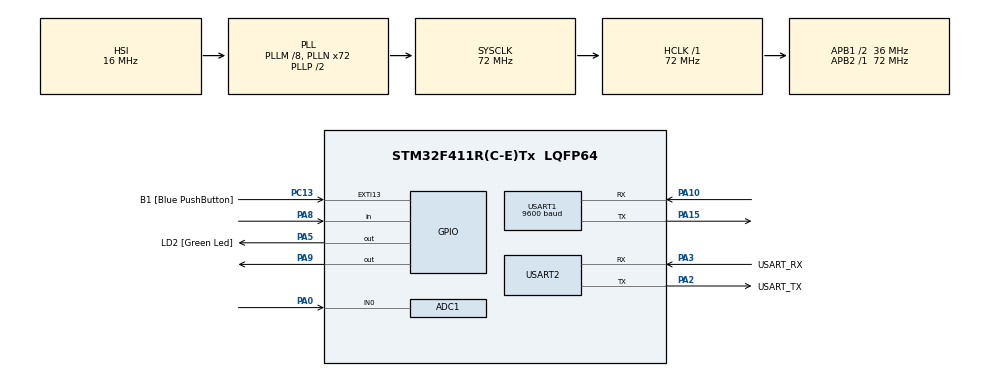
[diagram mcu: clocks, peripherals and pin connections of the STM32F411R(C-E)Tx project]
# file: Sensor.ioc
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ADC1.Channel-0\#ChannelRegularConversion=ADC_CHANNEL_0
ADC1.NbrOfConversionFlag=1
ADC1.Rank-0\#ChannelRegularConversion=1
ADC1.SamplingTime-0\#ChannelRegularConversion=ADC_SAMPLETIME_3CYCLES
ADC1.master=1
Mcu.Family=STM32F4
Mcu.Name=STM32F411R(C-E)Tx
Mcu.Package=LQFP64
NVIC.PriorityGroup=NVIC_PRIORITYGROUP_0
PA0-WKUP.Signal=ADCx_IN0
PA10.Mode=Asynchronous
PA10.Signal=USART1_RX
PA13.GPIO_Label=TMS
PA13.Mode=Serial_Wire
PA13.Signal=SYS_JTMS-SWDIO
PA14.GPIO_Label=TCK
PA14.Mode=Serial_Wire
PA14.Signal=SYS_JTCK-SWCLK
PA15.Mode=Asynchronous
PA15.Signal=USART1_TX
PA2.GPIO_Label=USART_TX
PA2.Mode=Asynchronous
PA2.Signal=USART2_TX
PA3.GPIO_Label=USART_RX
PA3.Mode=Asynchronous
PA3.Signal=USART2_RX
PA5.GPIO_Label=LD2 [Green Led]
PA5.Signal=GPIO_Output
PA8.Signal=GPIO_Input
PA9.Signal=GPIO_Output
PB3.GPIO_Label=SWO
PB3.Signal=SYS_JTDO-SWO
PC13-ANTI_TAMP.GPIO_Label=B1 [Blue PushButton]
PC13-ANTI_TAMP.GPIO_ModeDefaultEXTI=GPIO_MODE_IT_FALLING
PC13-ANTI_TAMP.Signal=GPXTI13
PC14-OSC32_IN.Mode=LSE-External-Oscillator
PC14-OSC32_IN.Signal=RCC_OSC32_IN
PC15-OSC32_OUT.Mode=LSE-External-Oscillator
PC15-OSC32_OUT.Signal=RCC_OSC32_OUT
PH0\ -\ OSC_IN.Mode=HSE-External-Oscillator
PH0\ -\ OSC_IN.Signal=RCC_OSC_IN
PH1\ -\ OSC_OUT.Mode=HSE-External-Oscillator
PH1\ -\ OSC_OUT.Signal=RCC_OSC_OUT
ProjectManager.HeapSize=0x200
ProjectManager.StackSize=0x400
ProjectManager.TargetToolchain=STM32CubeIDE
RCC.48MHZClocksFreq_Value=36000000
RCC.AHBFreq_Value=72000000
RCC.APB1CLKDivider=RCC_HCLK_DIV2
RCC.APB1Freq_Value=36000000
RCC.APB1TimFreq_Value=72000000
RCC.APB2Freq_Value=72000000
RCC.APB2TimFreq_Value=72000000
RCC.CortexFreq_Value=72000000
RCC.FLatency-AdvancedSettings=FLASH_LATENCY_2
RCC.HCLKFreq_Value=72000000
RCC.HSE_VALUE=8000000
RCC.HSI_VALUE=16000000
RCC.PLLM=8
RCC.PLLN=72
RCC.SYSCLKFreq_VALUE=72000000
RCC.SYSCLKSource=RCC_SYSCLKSOURCE_PLLCLK
RCC.VCOOutputFreq_Value=144000000
SH.ADCx_IN0.0=ADC1_IN0,IN0
TIM1.Prescaler=71
USART1.BaudRate=9600
USART1.VirtualMode=VM_ASYNC
USART2.VirtualMode=VM_ASYNC
VP_TIM1_VS_ClockSourceINT.Mode=Internal
board=NUCLEO-F411RE

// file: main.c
/* USER CODE BEGIN Header */
/**
  ******************************************************************************
  * @file           : main.c
  * @brief          : Main program body
  ******************************************************************************
  * @attention
  *
  * Copyright (c) 2024 STMicroelectronics.
  * All rights reserved.
  *
  * This software is licensed under terms that can be found in the LICENSE file
  * in the root directory of this software component.
  * If no LICENSE file comes with this software, it is provided AS-IS.
  *
  ******************************************************************************
  */
/* USER CODE END Header */
#include "main.h"

ADC_HandleTypeDef hadc1;

TIM_HandleTypeDef htim1;

UART_HandleTypeDef huart1;
UART_HandleTypeDef huart2;

/* USER CODE BEGIN PV */
// For HC-SR04 sensor
#define TRIG_PIN GPIO_PIN_9 //D8
#define TRIG_PORT GPIOA
#define ECHO_PIN GPIO_PIN_8 //D7
#define ECHO_PORT GPIOA
// Use Timer1 as counter with HCLK of 72 and prescaler of 72-1.
// For LDR sensor
// Use adc1 with the resolution of 12 bits at port A0.
// Both uses 5V, Resistor used 1,000 ohms

uint32_t pMillis;
uint32_t Value1 = 0;
uint32_t Value2 = 0;
uint16_t Distance  = 0;  // cm
uint16_t ldr = 0;
double voltage_used = 5.0;
double max_adc_decimal = 4095.0;
double resistor_used = 1000.0;
char buf[256];
char confirmation[1];
/* USER CODE END PV */

void SystemClock_Config(void);
static void MX_GPIO_Init(void);
static void MX_USART2_UART_Init(void);
static void MX_TIM1_Init(void);
static void MX_ADC1_Init(void);
static void MX_USART1_UART_Init(void);

/* USER CODE BEGIN 0 */
uint32_t read_ADC_value(void) {
    HAL_ADC_Start(&hadc1); // Start the ADC conversion
    HAL_ADC_PollForConversion(&hadc1, HAL_MAX_DELAY); // Wait for the conversion to complete
    uint32_t adc_value = HAL_ADC_GetValue(&hadc1); // Get the ADC value
    HAL_ADC_Stop(&hadc1); // Stop the ADC conversion
    return adc_value;
}
/* USER CODE END 0 */

int main(void)
{

  /* MCU Configuration--------------------------------------------------------*/

  /* Reset of all peripherals, Initializes the Flash interface and the Systick. */
  HAL_Init();

  /* Configure the system clock */
  SystemClock_Config();

  /* Initialize all configured peripherals */
  MX_GPIO_Init();
  MX_USART2_UART_Init();
  MX_TIM1_Init();
  MX_ADC1_Init();
  MX_USART1_UART_Init();
  /* USER CODE BEGIN 2 */
  HAL_TIM_Base_Start(&htim1);
  HAL_GPIO_WritePin(TRIG_PORT, TRIG_PIN, GPIO_PIN_RESET);  // pull the TRIG pin low
  /* USER CODE END 2 */

  /* Infinite loop */
  /* USER CODE BEGIN WHILE */
  while (1)
  {
	  // Debug light
	  HAL_Delay(500);
	  if (HAL_UART_Receive(&huart1, confirmation, 1, 10) != HAL_OK) {
		  HAL_GPIO_TogglePin(GPIOA, GPIO_PIN_5);
		  continue;
	  }
 // Distance sensor
	  // Trigger 10 micro second pulse
	  HAL_GPIO_WritePin(TRIG_PORT, TRIG_PIN, GPIO_PIN_SET);  // pull the TRIG pin HIGH
	  __HAL_TIM_SET_COUNTER(&htim1, 0);
	  while (__HAL_TIM_GET_COUNTER (&htim1) < 10);  // wait for 10 us
	  HAL_GPIO_WritePin(TRIG_PORT, TRIG_PIN, GPIO_PIN_RESET);  // pull the TRIG pin low

	  // Detect High Output
	  pMillis = HAL_GetTick(); // used this to avoid infinite while loop  (for timeout)
	  // wait for the echo pin to go high
	  while (!(HAL_GPIO_ReadPin (ECHO_PORT, ECHO_PIN)) && pMillis + 10 >  HAL_GetTick());
	  Value1 = __HAL_TIM_GET_COUNTER (&htim1);

	  // Detect Low Output
	  pMillis = HAL_GetTick(); // used this to avoid infinite while loop (for timeout)
	  // wait for the echo pin to go low
	  while ((HAL_GPIO_ReadPin (ECHO_PORT, ECHO_PIN)) && pMillis + 50 > HAL_GetTick());
	  Value2 = __HAL_TIM_GET_COUNTER (&htim1);

	  // Distance limit = [2, 200] cm
	  Distance = (Value2-Value1)* 0.034/2;
//	  UART2 Debug
//	  sprintf(buf, "dis = %d\r\n", Distance);
//	  HAL_UART_Transmit(&huart2, buf, strlen(buf), 1000);

// 	  Light sensor
	  int adc_value = read_ADC_value(); // Read the ADC value
	  double Rvoltage = ((double)adc_value / max_adc_decimal) * voltage_used; // Convert ADC value to Resistor voltage
	  double LDRvoltage = voltage_used - Rvoltage;
	  double LDRresistance = LDRvoltage / Rvoltage * resistor_used;
//	  sprintf(buf, "adc = %d   RV = %d   LDRV = %d   RLDR = %d\r\n",adc_value, (int)Rvoltage, (int)LDRvoltage, (int)LDRresistance);
//	  HAL_UART_Transmit(&huart2, buf, strlen(buf), 10);
//	  sprintf(buf, "%dx", Distance);
//	  HAL_UART_Transmit(&huart1, buf, strlen(buf), 10);
//	  sprintf(buf, "%dx", adc_value);
//	  HAL_UART_Transmit(&huart1, buf, strlen(buf), 10);
	  // Transimit to node
	  sprintf(buf, "%d,%dx", Distance, (int)LDRresistance);
	  HAL_UART_Transmit(&huart1, buf, strlen(buf), 10);
//	  UART2 Debug
//	  sprintf(buf, "adc = %d\r\n", adc_value);
//	  HAL_UART_Transmit(&huart2, buf, strlen(buf), 1000);

	  HAL_GPIO_WritePin(GPIOA, GPIO_PIN_5, GPIO_PIN_RESET);
	  HAL_Delay(500);
    /* USER CODE END WHILE */

  }
}

void SystemClock_Config(void)
{
  RCC_OscInitTypeDef RCC_OscInitStruct = {0};
  RCC_ClkInitTypeDef RCC_ClkInitStruct = {0};

  /** Configure the main internal regulator output voltage
  */
  __HAL_RCC_PWR_CLK_ENABLE();
  __HAL_PWR_VOLTAGESCALING_CONFIG(PWR_REGULATOR_VOLTAGE_SCALE1);

  /** Initializes the RCC Oscillators according to the specified parameters
  * in the RCC_OscInitTypeDef structure.
  */
  RCC_OscInitStruct.OscillatorType = RCC_OSCILLATORTYPE_HSI;
  RCC_OscInitStruct.HSIState = RCC_HSI_ON;
  RCC_OscInitStruct.HSICalibrationValue = RCC_HSICALIBRATION_DEFAULT;
  RCC_OscInitStruct.PLL.PLLState = RCC_PLL_ON;
  RCC_OscInitStruct.PLL.PLLSource = RCC_PLLSOURCE_HSI;
  RCC_OscInitStruct.PLL.PLLM = 8;
  RCC_OscInitStruct.PLL.PLLN = 72;
  RCC_OscInitStruct.PLL.PLLP = RCC_PLLP_DIV2;
  RCC_OscInitStruct.PLL.PLLQ = 4;
  if (HAL_RCC_OscConfig(&RCC_OscInitStruct) != HAL_OK)
  {
    Error_Handler();
  }

  /** Initializes the CPU, AHB and APB buses clocks
  */
  RCC_ClkInitStruct.ClockType = RCC_CLOCKTYPE_HCLK|RCC_CLOCKTYPE_SYSCLK
                              |RCC_CLOCKTYPE_PCLK1|RCC_CLOCKTYPE_PCLK2;
  RCC_ClkInitStruct.SYSCLKSource = RCC_SYSCLKSOURCE_PLLCLK;
  RCC_ClkInitStruct.AHBCLKDivider = RCC_SYSCLK_DIV1;
  RCC_ClkInitStruct.APB1CLKDivider = RCC_HCLK_DIV2;
  RCC_ClkInitStruct.APB2CLKDivider = RCC_HCLK_DIV1;

  if (HAL_RCC_ClockConfig(&RCC_ClkInitStruct, FLASH_LATENCY_2) != HAL_OK)
  {
    Error_Handler();
  }
}

static void MX_ADC1_Init(void)
{

  ADC_ChannelConfTypeDef sConfig = {0};

  /** Configure the global features of the ADC (Clock, Resolution, Data Alignment and number of conversion)
  */
  hadc1.Instance = ADC1;
  hadc1.Init.ClockPrescaler = ADC_CLOCK_SYNC_PCLK_DIV2;
  hadc1.Init.Resolution = ADC_RESOLUTION_12B;
  hadc1.Init.ScanConvMode = DISABLE;
  hadc1.Init.ContinuousConvMode = DISABLE;
  hadc1.Init.DiscontinuousConvMode = DISABLE;
  hadc1.Init.ExternalTrigConvEdge = ADC_EXTERNALTRIGCONVEDGE_NONE;
  hadc1.Init.ExternalTrigConv = ADC_SOFTWARE_START;
  hadc1.Init.DataAlign = ADC_DATAALIGN_RIGHT;
  hadc1.Init.NbrOfConversion = 1;
  hadc1.Init.DMAContinuousRequests = DISABLE;
  hadc1.Init.EOCSelection = ADC_EOC_SINGLE_CONV;
  if (HAL_ADC_Init(&hadc1) != HAL_OK)
  {
    Error_Handler();
  }

  /** Configure for the selected ADC regular channel its corresponding rank in the sequencer and its sample time.
  */
  sConfig.Channel = ADC_CHANNEL_0;
  sConfig.Rank = 1;
  sConfig.SamplingTime = ADC_SAMPLETIME_3CYCLES;
  if (HAL_ADC_ConfigChannel(&hadc1, &sConfig) != HAL_OK)
  {
    Error_Handler();
  }

}

static void MX_TIM1_Init(void)
{

  TIM_ClockConfigTypeDef sClockSourceConfig = {0};
  TIM_MasterConfigTypeDef sMasterConfig = {0};

  htim1.Instance = TIM1;
  htim1.Init.Prescaler = 71;
  htim1.Init.CounterMode = TIM_COUNTERMODE_UP;
  htim1.Init.Period = 65535;
  htim1.Init.ClockDivision = TIM_CLOCKDIVISION_DIV1;
  htim1.Init.RepetitionCounter = 0;
  htim1.Init.AutoReloadPreload = TIM_AUTORELOAD_PRELOAD_DISABLE;
  if (HAL_TIM_Base_Init(&htim1) != HAL_OK)
  {
    Error_Handler();
  }
  sClockSourceConfig.ClockSource = TIM_CLOCKSOURCE_INTERNAL;
  if (HAL_TIM_ConfigClockSource(&htim1, &sClockSourceConfig) != HAL_OK)
  {
    Error_Handler();
  }
  sMasterConfig.MasterOutputTrigger = TIM_TRGO_RESET;
  sMasterConfig.MasterSlaveMode = TIM_MASTERSLAVEMODE_DISABLE;
  if (HAL_TIMEx_MasterConfigSynchronization(&htim1, &sMasterConfig) != HAL_OK)
  {
    Error_Handler();
  }

}

static void MX_USART1_UART_Init(void)
{

  huart1.Instance = USART1;
  huart1.Init.BaudRate = 9600;
  huart1.Init.WordLength = UART_WORDLENGTH_8B;
  huart1.Init.StopBits = UART_STOPBITS_1;
  huart1.Init.Parity = UART_PARITY_NONE;
  huart1.Init.Mode = UART_MODE_TX_RX;
  huart1.Init.HwFlowCtl = UART_HWCONTROL_NONE;
  huart1.Init.OverSampling = UART_OVERSAMPLING_16;
  if (HAL_UART_Init(&huart1) != HAL_OK)
  {
    Error_Handler();
  }

}

static void MX_USART2_UART_Init(void)
{

  huart2.Instance = USART2;
  huart2.Init.BaudRate = 115200;
  huart2.Init.WordLength = UART_WORDLENGTH_8B;
  huart2.Init.StopBits = UART_STOPBITS_1;
  huart2.Init.Parity = UART_PARITY_NONE;
  huart2.Init.Mode = UART_MODE_TX_RX;
  huart2.Init.HwFlowCtl = UART_HWCONTROL_NONE;
  huart2.Init.OverSampling = UART_OVERSAMPLING_16;
  if (HAL_UART_Init(&huart2) != HAL_OK)
  {
    Error_Handler();
  }

}

static void MX_GPIO_Init(void)
{
  GPIO_InitTypeDef GPIO_InitStruct = {0};

  /* GPIO Ports Clock Enable */
  __HAL_RCC_GPIOC_CLK_ENABLE();
  __HAL_RCC_GPIOH_CLK_ENABLE();
  __HAL_RCC_GPIOA_CLK_ENABLE();
  __HAL_RCC_GPIOB_CLK_ENABLE();

  /*Configure GPIO pin Output Level */
  HAL_GPIO_WritePin(GPIOA, LD2_Pin|GPIO_PIN_9, GPIO_PIN_RESET);

  /*Configure GPIO pin : B1_Pin */
  GPIO_InitStruct.Pin = B1_Pin;
  GPIO_InitStruct.Mode = GPIO_MODE_IT_FALLING;
  GPIO_InitStruct.Pull = GPIO_NOPULL;
  HAL_GPIO_Init(B1_GPIO_Port, &GPIO_InitStruct);

  /*Configure GPIO pins : LD2_Pin PA9 */
  GPIO_InitStruct.Pin = LD2_Pin|GPIO_PIN_9;
  GPIO_InitStruct.Mode = GPIO_MODE_OUTPUT_PP;
  GPIO_InitStruct.Pull = GPIO_NOPULL;
  GPIO_InitStruct.Speed = GPIO_SPEED_FREQ_LOW;
  HAL_GPIO_Init(GPIOA, &GPIO_InitStruct);

  /*Configure GPIO pin : PA8 */
  GPIO_InitStruct.Pin = GPIO_PIN_8;
  GPIO_InitStruct.Mode = GPIO_MODE_INPUT;
  GPIO_InitStruct.Pull = GPIO_NOPULL;
  HAL_GPIO_Init(GPIOA, &GPIO_InitStruct);

}

void Error_Handler(void)
{
  __disable_irq();
  while (1)
  {
  }
}
